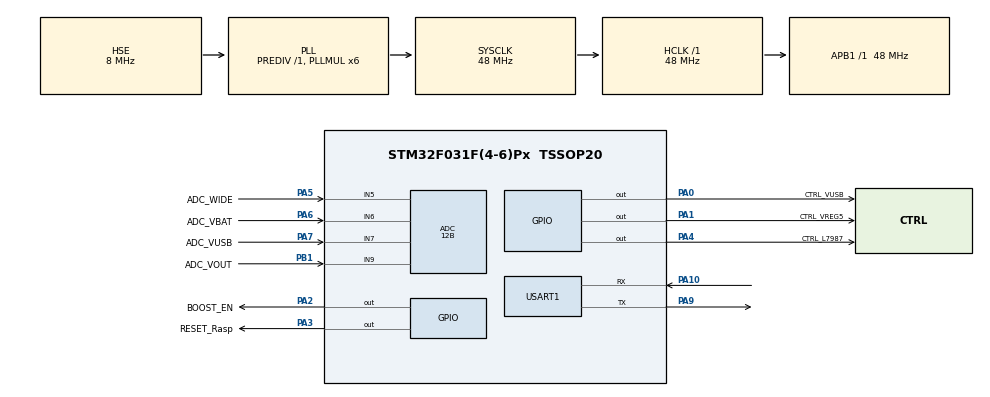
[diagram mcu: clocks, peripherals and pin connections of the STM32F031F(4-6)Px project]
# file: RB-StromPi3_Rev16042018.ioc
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ADC.ClockPrescaler=ADC_CLOCK_ASYNC_DIV1
ADC.ContinuousConvMode=ENABLE
ADC.DMAContinuousRequests=ENABLE
ADC.DataAlign=ADC_DATAALIGN_RIGHT
ADC.DiscontinuousConvMode=DISABLE
ADC.EOCSelection=ADC_EOC_SINGLE_CONV
ADC.EnableAnalogWatchDog=true
ADC.ExternalTrigConv=ADC_SOFTWARE_START
ADC.ExternalTrigConvEdge=ADC_EXTERNALTRIGCONVEDGE_NONE
ADC.HighThreshold=4095
ADC.ITMode=ENABLE
ADC.LowPowerAutoPowerOff=DISABLE
ADC.LowPowerAutoWait=DISABLE
ADC.LowThreshold=1850
ADC.Overrun=ADC_OVR_DATA_OVERWRITTEN
ADC.Resolution=ADC_RESOLUTION_12B
ADC.SamplingTime=ADC_SAMPLETIME_239CYCLES_5
ADC.ScanConvMode=ADC_SCAN_DIRECTION_FORWARD
ADC.WatchdogChannel=ADC_CHANNEL_7
ADC.WatchdogMode=ADC_ANALOGWATCHDOG_SINGLE_REG
Dma.ADC.0.Direction=DMA_PERIPH_TO_MEMORY
Dma.ADC.0.Instance=DMA1_Channel1
Dma.ADC.0.MemDataAlignment=DMA_MDATAALIGN_HALFWORD
Dma.ADC.0.MemInc=DMA_MINC_ENABLE
Dma.ADC.0.Mode=DMA_CIRCULAR
Dma.ADC.0.PeriphDataAlignment=DMA_PDATAALIGN_HALFWORD
Dma.ADC.0.PeriphInc=DMA_PINC_DISABLE
Dma.ADC.0.Priority=DMA_PRIORITY_LOW
Dma.Request0=ADC
FREERTOS.HEAP_NUMBER=3
FREERTOS.INCLUDE_uxTaskGetStackHighWaterMark=1
FREERTOS.INCLUDE_vTaskDelete=0
FREERTOS.Tasks01=defaultTask,0,64,StartDefaultTask,Default,NULL,Dynamic,NULL,NULL
FREERTOS.configCHECK_FOR_STACK_OVERFLOW=1
FREERTOS.configMAX_TASK_NAME_LEN=12
FREERTOS.configMINIMAL_STACK_SIZE=64
FREERTOS.configQUEUE_REGISTRY_SIZE=0
FREERTOS.configTOTAL_HEAP_SIZE=2048
FREERTOS.configUSE_MUTEXES=1
FREERTOS.configUSE_TASK_NOTIFICATIONS=0
Mcu.Family=STM32F0
Mcu.Name=STM32F031F(4-6)Px
Mcu.Package=TSSOP20
NVIC.ADC1_IRQn=true\:3\:0\:false\:true\:true\:1\:true\:true
NVIC.DMA1_Channel1_IRQn=true\:3\:0\:false\:true\:true\:3\:true\:false
NVIC.TIM14_IRQn=true\:0\:0\:false\:false\:true\:false\:false
NVIC.TimeBase=TIM14_IRQn
NVIC.TimeBaseIP=TIM14
NVIC.USART1_IRQn=true\:3\:0\:false\:true\:true\:2\:true\:true
PA0.GPIO_Label=CTRL_VUSB
PA0.GPIO_PuPd=GPIO_PULLDOWN
PA0.PinState=GPIO_PIN_RESET
PA0.Signal=GPIO_Output
PA1.GPIO_Label=CTRL_VREG5
PA1.GPIO_PuPd=GPIO_PULLUP
PA1.PinState=GPIO_PIN_SET
PA1.Signal=GPIO_Output
PA10.GPIO_PuPd=GPIO_PULLDOWN
PA10.Mode=Asynchronous
PA10.Signal=USART1_RX
PA13.Mode=Serial_Wire
PA13.Signal=SYS_SWDIO
PA14.Mode=Serial_Wire
PA14.Signal=SYS_SWCLK
PA2.GPIO_Label=BOOST_EN
PA2.GPIO_PuPd=GPIO_PULLUP
PA2.PinState=GPIO_PIN_SET
PA2.Signal=GPIO_Output
PA3.GPIO_Label=RESET_Rasp
PA3.Signal=GPIO_Output
PA4.GPIO_Label=CTRL_L7987
PA4.GPIO_PuPd=GPIO_PULLUP
PA4.PinState=GPIO_PIN_SET
PA4.Signal=GPIO_Output
PA5.GPIO_Label=ADC_WIDE
PA5.Mode=IN5
PA5.Signal=ADC_IN5
PA6.GPIO_Label=ADC_VBAT
PA6.Mode=IN6
PA6.Signal=ADC_IN6
PA7.GPIO_Label=ADC_VUSB
PA7.Mode=IN7
PA7.Signal=ADC_IN7
PA9.GPIO_PuPd=GPIO_PULLDOWN
PA9.Mode=Asynchronous
PA9.Signal=USART1_TX
PB1.GPIO_Label=ADC_VOUT
PB1.Mode=IN9
PB1.Signal=ADC_IN9
PF0-OSC_IN.Mode=HSE-External-Oscillator
PF0-OSC_IN.Signal=RCC_OSC_IN
PF1-OSC_OUT.Mode=HSE-External-Oscillator
PF1-OSC_OUT.Signal=RCC_OSC_OUT
ProjectManager.HeapSize=0x200
ProjectManager.StackSize=0x700
ProjectManager.TargetToolchain=TrueSTUDIO
RCC.AHBFreq_Value=48000000
RCC.APB1Freq_Value=48000000
RCC.APB1TimFreq_Value=48000000
RCC.HCLKFreq_Value=48000000
RCC.PLLMUL=RCC_PLL_MUL6
RCC.PLLSourceVirtual=RCC_PLLSOURCE_HSE
RCC.RTCClockSelection=RCC_RTCCLKSOURCE_HSE_DIV32
RCC.SYSCLKFreq_VALUE=48000000
RCC.SYSCLKSource=RCC_SYSCLKSOURCE_PLLCLK
RTC.AsynchPrediv=124
RTC.SynchPrediv=1999
USART1.VirtualMode-Asynchronous=VM_ASYNC
VP_ADC_Vref_Input.Mode=IN-Vrefint
VP_FREERTOS_VS_ENABLE.Mode=Enabled
VP_RTC_VS_RTC_Activate.Mode=RTC_Enabled
VP_SYS_VS_tim14.Mode=TIM14
board=RB-StromPi3_Rev16042018

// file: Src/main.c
/**
 ******************************************************************************
 * @file           : main.c
 * @brief          : Main program body
 ******************************************************************************
 * This notice applies to any and all portions of this file
 * that are not between comment pairs USER CODE BEGIN and
 * USER CODE END. Other portions of this file, whether
 * inserted by the user or by software development tools
 * are owned by their respective copyright owners.
 *
 * Copyright (c) 2018 STMicroelectronics International N.V.
 * All rights reserved.
 *
 * Redistribution and use in source and binary forms, with or without
 * modification, are permitted, provided that the following conditions are met:
 *
 * 1. Redistribution of source code must retain the above copyright notice,
 *    this list of conditions and the following disclaimer.
 * 2. Redistributions in binary form must reproduce the above copyright notice,
 *    this list of conditions and the following disclaimer in the documentation
 *    and/or other materials provided with the distribution.
 * 3. Neither the name of STMicroelectronics nor the names of other
 *    contributors to this software may be used to endorse or promote products
 *    derived from this software without specific written permission.
 * 4. This software, including modifications and/or derivative works of this
 *    software, must execute solely and exclusively on microcontroller or
 *    microprocessor devices manufactured by or for STMicroelectronics.
 * 5. Redistribution and use of this software other than as permitted under
 *    this license is void and will automatically terminate your rights under
 *    this license.
 *
 * THIS SOFTWARE IS PROVIDED BY STMICROELECTRONICS AND CONTRIBUTORS "AS IS"
 * AND ANY EXPRESS, IMPLIED OR STATUTORY WARRANTIES, INCLUDING, BUT NOT
 * LIMITED TO, THE IMPLIED WARRANTIES OF MERCHANTABILITY, FITNESS FOR A
 * PARTICULAR PURPOSE AND NON-INFRINGEMENT OF THIRD PARTY INTELLECTUAL PROPERTY
 * RIGHTS ARE DISCLAIMED TO THE FULLEST EXTENT PERMITTED BY LAW. IN NO EVENT
 * SHALL STMICROELECTRONICS OR CONTRIBUTORS BE LIABLE FOR ANY DIRECT, INDIRECT,
 * INCIDENTAL, SPECIAL, EXEMPLARY, OR CONSEQUENTIAL DAMAGES (INCLUDING, BUT NOT
 * LIMITED TO, PROCUREMENT OF SUBSTITUTE GOODS OR SERVICES; LOSS OF USE, DATA,
 * OR PROFITS; OR BUSINESS INTERRUPTION) HOWEVER CAUSED AND ON ANY THEORY OF
 * LIABILITY, WHETHER IN CONTRACT, STRICT LIABILITY, OR TORT (INCLUDING
 * NEGLIGENCE OR OTHERWISE) ARISING IN ANY WAY OUT OF THE USE OF THIS SOFTWARE,
 * EVEN IF ADVISED OF THE POSSIBILITY OF SUCH DAMAGE.
 *
 ******************************************************************************
 */

/************************************************************************************************************************************************************

 StromPi v3 - by Joy-IT
 OpenSource-Firmware published under MIT-License

 /************************************************************************************************************************************************************

 This following pieces of Code defines the Firmware of the StromPi3 Raspberry Pi expansion.
 Its main functions are included into the integrated OpenSource FreeRTOS
 The Basis I/O HAL Drivers of the STM32F031 are generated with STM32CubeMX and can be modified here in Source
 or with the "StromPi3.ioc" - File.

 The main functionality of the StromPi3 is realized with the STM32 ADC Watchdog - which is configured to monitor
 the voltage of the configured primary voltage source. If the voltage source fails and the measured voltage
 falls under the threshold, then the STM32 switch to the voltage/powerpath of the configured backup source.
 The STM32 switches the powerpath through Mosfets connected to its GPIO-Ports.
 The voltage-sources which can be configured are the following:

 - mUSB
 - Wide-Range (StepDown Regulator Output)
 - Battery

 If the Battery-PowerPath isn't selected as the voltage-source, the Battery-Hat Expansion would be configured
 into its charging mode.
 For further reference of the topology of the StromPi3, please refer to the schematic-files which are also
 included into the OpenSource-Files

 The FreeRTOS Operating System is generated with two Tasks:

 - Main Operating Task with the AlarmHandler (for Time based Operations like timed WakeUp or Shutdown),
 the function to repower the Raspberry Pi in case that the main voltage source comes back
 and the functions to read out the ADC-Values for Voltage Output.
 This Task is timed to operate in a period of 1 second

 The Sourcecode of this Task is defined in this "main.c" File

 - Serial Console Task which is processing the the in- and output of the serial interface.

 The Sourecode of this Task is defined in the "UART_CLI.c" File

 The ADC-Watchdog is processed in its own HAL-Based Interrupt-Routine through flags, which then are
 processed in the main Task.

 The Files are created in the Atollic TrueSTUDIO for STM32, which can be used for STM32 for free.
 You can include the .cproject file in the IDE and start to code your own modifications
 and debug them with a ST-Linkv2 connected to the StromPi3 or make your own binary which can be flashed
 with the stm32flasher in flashmode of the StromPi 3
 (Please refer to the manual provided in our firmware updates in the download section of strompi.joy-it.net)

 (connections have to be soldered for InCircuit debugging- please refer to the additional Files provided in the OpenSource Package for the right pinout)

 Please refer to the additional comments in the corresponding sections for further explanations.

 If there are questions or something is unclear, please feel free
 to contact us via E-Mail: service@joy-it.net
 */

/***********************************************************************************************************************************************************/

#include "main.h"
#include "stm32f0xx_hal.h"
#include "cmsis_os.h"

/* USER CODE BEGIN Includes */

/*** The following variables are needed for initialization of the STM32-HAL System ***/

/* USER CODE END Includes */

ADC_HandleTypeDef hadc;
DMA_HandleTypeDef hdma_adc;

RTC_HandleTypeDef hrtc;

UART_HandleTypeDef huart1;

osThreadId defaultTaskHandle;

/* USER CODE BEGIN PV */
/* Private variables ---------------------------------------------------------*/
PAGEError = 0;
uint8_t initstart = 0; /*** only needed in factory production  ***/

/* USER CODE END PV */

void SystemClock_Config(void);
static void MX_GPIO_Init(void);
static void MX_DMA_Init(void);
static void MX_ADC_Init(void);
static void MX_RTC_Init(void);
static void MX_USART1_UART_Init(void);
void StartDefaultTask(void const *argument);
static void MX_NVIC_Init(void);

/* USER CODE BEGIN PFP */
/* Private function prototypes -----------------------------------------------*/

extern void vUARTCommandConsoleStart(void);

/* USER CODE END PFP */

/* USER CODE BEGIN 0 */

/*** Initialization of the STM32-HAL RTC Driver ***/

RTC_DateTypeDef sdatestructure;
RTC_TimeTypeDef stimestructure;

/*** Here are defined the warning messages which are sent through the serial interface ***/

uint8_t shutdownMessage[] = "xxxShutdownRaspberryPixxx\n\r";

uint8_t powerfailMessage[] = "xxx--StromPiPowerfail--xxx\n\r";

uint8_t powerBackMessage[] = "xxx--StromPiPowerBack--xxx\n\r";

/*** FreeRTOS Hook for Debug-Purposes ***/

void vApplicationStackOverflowHook(xTaskHandle *pxTask, signed char *pcTaskName) {
	for (;;)
		;
}

/* USER CODE END 0 */

int main(void) {
	/* USER CODE BEGIN 1 */

	/*** The configuration, which is made in the serial console,
	 * are stored into the flash of the STM32F031 MCU with the flashconfig() function.
	 * In the following section, the configuration is read out from the designated flash
	 * and stored into variables in the memory ***/

	modus = *(uint8_t*) modus_FlashAdress;
	alarmDate = *(uint8_t*) alarmDate_FlashAdress;
	alarmWeekDay = *(uint8_t*) alarmWeekDay_FlashAdress;
	alarmTime = *(uint8_t*) alarmTime_FlashAdress;
	alarmPoweroff = *(uint8_t*) alarmPoweroff_FlashAdress;
	alarm_min = *(uint8_t*) alarm_min_FlashAdress;
	alarm_hour = *(uint8_t*) alarm_hour_FlashAdress;
	alarm_min_off = *(uint8_t*) alarm_min_off_FlashAdress;
	alarm_hour_off = *(uint8_t*) alarm_hour_off_FlashAdress;
	alarm_day = *(uint8_t*) alarm_day_FlashAdress;
	alarm_month = *(uint8_t*) alarm_month_FlashAdress;
	alarm_weekday = *(uint8_t*) alarm_weekday_FlashAdress;
	alarm_enable = *(uint8_t*) alarm_enable_FlashAdress;
	shutdown_enable = *(uint8_t*) shutdown_enable_FlashAdress;
	shutdown_time = *(uint16_t*) shutdown_time_FlashAdress;
	warning_enable = *(uint8_t*) warning_enable_FlashAdress;
	serialLessMode = *(uint8_t*) serialLessMode_FlashAdress;
	batLevel_shutdown = *(uint8_t*) batLevel_shutdown_FlashAdress;
	alarmInterval = *(uint8_t*) alarmInterval_FlashAdress;
	alarmIntervalMinOn = *(uint16_t*) alarmIntervalMinOn_FlashAdress;
	alarmIntervalMinOff = *(uint16_t*) alarmIntervalMinOff_FlashAdress;
	powerOnButton_enable = *(uint16_t*) powerOnButton_enable_FlashAdress;
	powerOnButton_time = *(uint16_t*) powerOnButton_time_FlashAdress;
	powersave_enable = *(uint16_t*) powersave_enable_FlashAdress;
	poweroff_enable = *(uint16_t*) poweroff_enable_FlashAdress;
	wakeup_time_enable = *(uint8_t*) wakeup_time_enable_FlashAdress;
	wakeup_time = *(uint16_t*) wakeup_time_FlashAdress;
	wakeupweekend_enable = *(uint8_t*) wakeupweekend_enable_FlashAdress;

	/*** Only for manufacturing | Checks if the Flash Area of the STM32F031 is blank - in this case it preprogramm it with a default configuration ***/
	initialCheck();

	configParamters[1] = modus;
	configParamters[2] = alarmDate;
	configParamters[3] = alarmWeekDay;
	configParamters[4] = alarmTime;
	configParamters[5] = alarmPoweroff;
	configParamters[6] = alarm_min;
	configParamters[7] = alarm_hour;
	configParamters[8] = alarm_min_off;
	configParamters[9] = alarm_hour_off;
	configParamters[10] = alarm_day;
	configParamters[11] = alarm_month;
	configParamters[12] = alarm_weekday;
	configParamters[13] = alarm_enable;
	configParamters[14] = shutdown_enable;
	configParamters[15] = shutdown_time;
	configParamters[16] = warning_enable;
	configParamters[17] = serialLessMode;
	configParamters[18] = batLevel_shutdown;
	configParamters[19] = alarmInterval;
	configParamters[20] = alarmIntervalMinOn;
	configParamters[21] = alarmIntervalMinOff;
	configParamters[22] = powerOnButton_enable;
	configParamters[23] = powerOnButton_time;
	configParamters[24] = powersave_enable;
	configParamters[25] = poweroff_enable;
	configParamters[26] = wakeup_time_enable;
	configParamters[27] = wakeup_time;
	configParamters[28] = wakeupweekend_enable;

	wakeup_time_counter = wakeup_time;
	alarmIntervalMinOn_Counter = alarmIntervalMinOn;
	alarmIntervalMinOff_Counter = alarmIntervalMinOff;

	poweroff_flag = 0;

	if (powersave_enable == 1) {
		HAL_GPIO_WritePin(CTRL_L7987_GPIO_Port, CTRL_L7987_Pin, GPIO_PIN_RESET);
	}

	/* USER CODE END 1 */

	/* MCU Configuration----------------------------------------------------------*/

	/* Reset of all peripherals, Initializes the Flash interface and the Systick. */
	HAL_Init();

	/* Configure the system clock */
	SystemClock_Config();

	/* Initialize all configured peripherals */
	MX_GPIO_Init();
	MX_DMA_Init();
	MX_RTC_Init();

	/* Initialize interrupts */
	MX_NVIC_Init();
	/* USER CODE BEGIN 2 */

	/*********************************************************************************/

	/*** STM32HAL RTC-Driver Initialization ***/
	sdatestructure.Year = 0x18;
	sdatestructure.Month = RTC_MONTH_MAY;
	sdatestructure.Date = 0x01;
	sdatestructure.WeekDay = RTC_WEEKDAY_TUESDAY;

	if (HAL_RTC_SetDate(&hrtc, &sdatestructure, RTC_FORMAT_BCD) != HAL_OK) {
		/* Initialization Error */
		Error_Handler();
	}

	stimestructure.Hours = 0x00;
	stimestructure.Minutes = 0x00;
	stimestructure.Seconds = 0x00;
	stimestructure.TimeFormat = RTC_HOURFORMAT12_AM;
	stimestructure.DayLightSaving = RTC_DAYLIGHTSAVING_NONE;
	stimestructure.StoreOperation = RTC_STOREOPERATION_RESET;

	if (HAL_RTC_SetTime(&hrtc, &stimestructure, RTC_FORMAT_BCD) != HAL_OK) {
		/* Initialization Error */
		Error_Handler();
	}

	/*********************************************************************************/

	/*** Activates Powerpath of the configured primary source ***/
	/*
	 * The Mode number represents the following configurations
	 *
	 *  1: mUSB (primary) -> Wide (secondary)
	 *  2: Wide (primary) -> mUSB (secondary)
	 *  3: mUSB (primary) -> Battery (secondary)
	 *  4: Wide (primary) -> Battery (secondary)
	 *
	 *  5: Three-Stage-Mode: mUSB -> Wide -> Battery
	 *  6: Three-Stage-Mode: Wide -> mUSB -> Battery
	 *
	 *  So for the initial boot process the primary source is selected
	 */

	if (modus == 1 || modus == 3) {
		Power_USB();
	} else if (modus == 2 || modus == 4) {
		Power_Wide();
	} else if (modus == 5) {
		threeStageMode = 1;
		modus = 1;
		Power_USB();
	} else if (modus == 6) {
		threeStageMode = 2;
		modus = 2;
		Power_Wide();
	}

	/*********************************************************************************/
	/*
	 * In the next lines the FreeRTOS Main Task is created and the Scheduler starts
	 */
	/*********************************************************************************/

	/* USER CODE END 2 */

	/* Create the thread(s) */
	/* definition and creation of defaultTask */
	osThreadDef(defaultTask, StartDefaultTask, osPriorityNormal, 0, 64);
	defaultTaskHandle = osThreadCreate(osThread(defaultTask), NULL);

	/* Start scheduler */
	osKernelStart();

	/* We should never get here as control is now taken by the scheduler */

	/* Infinite loop */
	while (1) {

	}

}

void SystemClock_Config(void) {

	RCC_OscInitTypeDef RCC_OscInitStruct;
	RCC_ClkInitTypeDef RCC_ClkInitStruct;
	RCC_PeriphCLKInitTypeDef PeriphClkInit;

	/**Initializes the CPU, AHB and APB busses clocks
	 */
	RCC_OscInitStruct.OscillatorType = RCC_OSCILLATORTYPE_HSI14
			| RCC_OSCILLATORTYPE_HSE;
	RCC_OscInitStruct.HSEState = RCC_HSE_ON;
	RCC_OscInitStruct.HSI14State = RCC_HSI14_ON;
	RCC_OscInitStruct.HSI14CalibrationValue = 16;
	RCC_OscInitStruct.PLL.PLLState = RCC_PLL_ON;
	RCC_OscInitStruct.PLL.PLLSource = RCC_PLLSOURCE_HSE;
	RCC_OscInitStruct.PLL.PLLMUL = RCC_PLL_MUL6;
	RCC_OscInitStruct.PLL.PREDIV = RCC_PREDIV_DIV1;
	if (HAL_RCC_OscConfig(&RCC_OscInitStruct) != HAL_OK) {
		_Error_Handler(__FILE__, __LINE__);
	}

	/**Initializes the CPU, AHB and APB busses clocks
	 */
	RCC_ClkInitStruct.ClockType = RCC_CLOCKTYPE_HCLK | RCC_CLOCKTYPE_SYSCLK
			| RCC_CLOCKTYPE_PCLK1;
	RCC_ClkInitStruct.SYSCLKSource = RCC_SYSCLKSOURCE_PLLCLK;
	RCC_ClkInitStruct.AHBCLKDivider = RCC_SYSCLK_DIV1;
	RCC_ClkInitStruct.APB1CLKDivider = RCC_HCLK_DIV1;

	if (HAL_RCC_ClockConfig(&RCC_ClkInitStruct, FLASH_LATENCY_1) != HAL_OK) {
		_Error_Handler(__FILE__, __LINE__);
	}

	PeriphClkInit.PeriphClockSelection = RCC_PERIPHCLK_USART1
			| RCC_PERIPHCLK_RTC;
	PeriphClkInit.Usart1ClockSelection = RCC_USART1CLKSOURCE_PCLK1;
	PeriphClkInit.RTCClockSelection = RCC_RTCCLKSOURCE_HSE_DIV32;
	if (HAL_RCCEx_PeriphCLKConfig(&PeriphClkInit) != HAL_OK) {
		_Error_Handler(__FILE__, __LINE__);
	}

	/**Configure the Systick interrupt time
	 */
	HAL_SYSTICK_Config(HAL_RCC_GetHCLKFreq() / 1000);

	/**Configure the Systick
	 */
	HAL_SYSTICK_CLKSourceConfig(SYSTICK_CLKSOURCE_HCLK);

	/* SysTick_IRQn interrupt configuration */
	HAL_NVIC_SetPriority(SysTick_IRQn, 3, 0);
}

/**
 * @brief NVIC Configuration.
 * @retval None
 */
static void MX_NVIC_Init(void) {
	/* ADC1_IRQn interrupt configuration */
	HAL_NVIC_SetPriority(ADC1_IRQn, 3, 0);
	HAL_NVIC_EnableIRQ(ADC1_IRQn);
	/* USART1_IRQn interrupt configuration */
	HAL_NVIC_SetPriority(USART1_IRQn, 3, 0);
	HAL_NVIC_EnableIRQ(USART1_IRQn);
	/* DMA1_Channel1_IRQn interrupt configuration */
	HAL_NVIC_SetPriority(DMA1_Channel1_IRQn, 3, 0);
	HAL_NVIC_EnableIRQ(DMA1_Channel1_IRQn);
}

/* ADC init function */
static void MX_ADC_Init(void) {

	ADC_ChannelConfTypeDef sConfig;
	ADC_AnalogWDGConfTypeDef AnalogWDGConfig;

	/**Configure the global features of the ADC (Clock, Resolution, Data Alignment and number of conversion)
	 */
	hadc.Instance = ADC1;
	hadc.Init.ClockPrescaler = ADC_CLOCK_ASYNC_DIV1;
	hadc.Init.Resolution = ADC_RESOLUTION_12B;
	hadc.Init.DataAlign = ADC_DATAALIGN_RIGHT;
	hadc.Init.ScanConvMode = ADC_SCAN_DIRECTION_FORWARD;
	hadc.Init.EOCSelection = ADC_EOC_SINGLE_CONV;
	hadc.Init.LowPowerAutoWait = DISABLE;
	hadc.Init.LowPowerAutoPowerOff = DISABLE;
	hadc.Init.ContinuousConvMode = ENABLE;
	hadc.Init.DiscontinuousConvMode = DISABLE;
	hadc.Init.ExternalTrigConv = ADC_SOFTWARE_START;
	hadc.Init.ExternalTrigConvEdge = ADC_EXTERNALTRIGCONVEDGE_NONE;
	hadc.Init.DMAContinuousRequests = ENABLE;
	hadc.Init.Overrun = ADC_OVR_DATA_OVERWRITTEN;
	if (HAL_ADC_Init(&hadc) != HAL_OK) {
		_Error_Handler(__FILE__, __LINE__);
	}

	/**Configure for the selected ADC regular channel to be converted.
	 */
	sConfig.Channel = ADC_CHANNEL_5;
	sConfig.Rank = ADC_RANK_CHANNEL_NUMBER;
	sConfig.SamplingTime = ADC_SAMPLETIME_239CYCLES_5;
	if (HAL_ADC_ConfigChannel(&hadc, &sConfig) != HAL_OK) {
		_Error_Handler(__FILE__, __LINE__);
	}

	/**Configure for the selected ADC regular channel to be converted.
	 */
	sConfig.Channel = ADC_CHANNEL_6;
	if (HAL_ADC_ConfigChannel(&hadc, &sConfig) != HAL_OK) {
		_Error_Handler(__FILE__, __LINE__);
	}

	/**Configure for the selected ADC regular channel to be converted.
	 */
	sConfig.Channel = ADC_CHANNEL_7;
	if (HAL_ADC_ConfigChannel(&hadc, &sConfig) != HAL_OK) {
		_Error_Handler(__FILE__, __LINE__);
	}

	/**Configure for the selected ADC regular channel to be converted.
	 */
	sConfig.Channel = ADC_CHANNEL_9;
	if (HAL_ADC_ConfigChannel(&hadc, &sConfig) != HAL_OK) {
		_Error_Handler(__FILE__, __LINE__);
	}

	/**Configure for the selected ADC regular channel to be converted.
	 */
	sConfig.Channel = ADC_CHANNEL_VREFINT;
	if (HAL_ADC_ConfigChannel(&hadc, &sConfig) != HAL_OK) {
		_Error_Handler(__FILE__, __LINE__);
	}

	/**Configure the analog watchdog
	 */
	AnalogWDGConfig.WatchdogMode = ADC_ANALOGWATCHDOG_SINGLE_REG;
	AnalogWDGConfig.Channel = ADC_CHANNEL_7;
	AnalogWDGConfig.ITMode = ENABLE;
	AnalogWDGConfig.HighThreshold = 4095;
	AnalogWDGConfig.LowThreshold = 1850;
	if (HAL_ADC_AnalogWDGConfig(&hadc, &AnalogWDGConfig) != HAL_OK) {
		_Error_Handler(__FILE__, __LINE__);
	}

}

/* RTC init function */
static void MX_RTC_Init(void) {

	/**Initialize RTC Only
	 */
	hrtc.Instance = RTC;
	hrtc.Init.HourFormat = RTC_HOURFORMAT_24;
	hrtc.Init.AsynchPrediv = 124;
	hrtc.Init.SynchPrediv = 1999;
	hrtc.Init.OutPut = RTC_OUTPUT_DISABLE;
	hrtc.Init.OutPutPolarity = RTC_OUTPUT_POLARITY_HIGH;
	hrtc.Init.OutPutType = RTC_OUTPUT_TYPE_OPENDRAIN;
	if (HAL_RTC_Init(&hrtc) != HAL_OK) {
		_Error_Handler(__FILE__, __LINE__);
	}

}

/* USART1 init function */
static void MX_USART1_UART_Init(void) {

	huart1.Instance = USART1;
	huart1.Init.BaudRate = 38400;
	huart1.Init.WordLength = UART_WORDLENGTH_8B;
	huart1.Init.StopBits = UART_STOPBITS_1;
	huart1.Init.Parity = UART_PARITY_NONE;
	huart1.Init.Mode = UART_MODE_TX_RX;
	huart1.Init.HwFlowCtl = UART_HWCONTROL_NONE;
	huart1.Init.OverSampling = UART_OVERSAMPLING_16;
	huart1.Init.OneBitSampling = UART_ONE_BIT_SAMPLE_DISABLE;
	huart1.AdvancedInit.AdvFeatureInit = UART_ADVFEATURE_NO_INIT;
	if (HAL_UART_Init(&huart1) != HAL_OK) {
		_Error_Handler(__FILE__, __LINE__);
	}

}

static void MX_DMA_Init(void) {
	/* DMA controller clock enable */
	__HAL_RCC_DMA1_CLK_ENABLE()
	;

}

/** Configure pins as
 * Analog
 * Input
 * Output
 * EVENT_OUT
 * EXTI
 */
static void MX_GPIO_Init(void) {

	GPIO_InitTypeDef GPIO_InitStruct;

	/* GPIO Ports Clock Enable */
	__HAL_RCC_GPIOF_CLK_ENABLE()
	;
	__HAL_RCC_GPIOA_CLK_ENABLE()
	;
	__HAL_RCC_GPIOB_CLK_ENABLE()
	;

	/*Configure GPIO pin Output Level */
	HAL_GPIO_WritePin(GPIOA, CTRL_VUSB_Pin | RESET_Rasp_Pin, GPIO_PIN_SET);

	/*Configure GPIO pin Output Level */
	HAL_GPIO_WritePin(GPIOA, CTRL_VREG5_Pin | BOOST_EN_Pin | CTRL_L7987_Pin,
			GPIO_PIN_SET);

	/*Configure GPIO pin : CTRL_VUSB_Pin */
	GPIO_InitStruct.Pin = CTRL_VUSB_Pin;
	GPIO_InitStruct.Mode = GPIO_MODE_OUTPUT_PP;
	GPIO_InitStruct.Pull = GPIO_PULLDOWN;
	GPIO_InitStruct.Speed = GPIO_SPEED_FREQ_LOW;
	HAL_GPIO_Init(CTRL_VUSB_GPIO_Port, &GPIO_InitStruct);

	/*Configure GPIO pins : CTRL_VREG5_Pin BOOST_EN_Pin CTRL_L7987_Pin */
	GPIO_InitStruct.Pin = CTRL_VREG5_Pin | BOOST_EN_Pin | CTRL_L7987_Pin;
	GPIO_InitStruct.Mode = GPIO_MODE_OUTPUT_PP;
	GPIO_InitStruct.Pull = GPIO_PULLUP;
	GPIO_InitStruct.Speed = GPIO_SPEED_FREQ_LOW;
	HAL_GPIO_Init(GPIOA, &GPIO_InitStruct);

	/*Configure GPIO pin : RESET_Rasp_Pin */
	GPIO_InitStruct.Pin = RESET_Rasp_Pin;
	GPIO_InitStruct.Mode = GPIO_MODE_OUTPUT_PP;
	GPIO_InitStruct.Pull = GPIO_NOPULL;
	GPIO_InitStruct.Speed = GPIO_SPEED_FREQ_LOW;
	HAL_GPIO_Init(RESET_Rasp_GPIO_Port, &GPIO_InitStruct);

}

/* USER CODE BEGIN 4 */

/*********************************************************************************/
/*
 * Functions to change the Reset Pin Function for the Serial-Less Mode and the PowerON Button
 */

void Config_Reset_Pin_Input_PullUP(void) {
	GPIO_InitTypeDef GPIO_InitStruct;

	GPIO_InitStruct.Pin = RESET_Rasp_Pin;
	GPIO_InitStruct.Mode = GPIO_MODE_INPUT;
	GPIO_InitStruct.Pull = GPIO_PULLUP;
	GPIO_InitStruct.Speed = GPIO_SPEED_FREQ_LOW;
	HAL_GPIO_Init(RESET_Rasp_GPIO_Port, &GPIO_InitStruct);
}

void Config_Reset_Pin_Input_PullDOWN(void) {
	GPIO_InitTypeDef GPIO_InitStruct;

	GPIO_InitStruct.Pin = RESET_Rasp_Pin;
	GPIO_InitStruct.Mode = GPIO_MODE_INPUT;
	GPIO_InitStruct.Pull = GPIO_PULLDOWN;
	GPIO_InitStruct.Speed = GPIO_SPEED_FREQ_LOW;
	HAL_GPIO_Init(RESET_Rasp_GPIO_Port, &GPIO_InitStruct);
}

void Config_Reset_Pin_Output(void) {
	GPIO_InitTypeDef GPIO_InitStruct;

	GPIO_InitStruct.Pin = RESET_Rasp_Pin;
	GPIO_InitStruct.Mode = GPIO_MODE_OUTPUT_PP;
	GPIO_InitStruct.Pull = GPIO_NOPULL;
	GPIO_InitStruct.Speed = GPIO_SPEED_FREQ_LOW;
	HAL_GPIO_Init(RESET_Rasp_GPIO_Port, &GPIO_InitStruct);
}

/*********************************************************************************/
/*
 * Functions to change the PowerPath
 *
 *		- Power_USB() activates the PowerPath of the mUSB Input
 * 		- Power_Wide() activates the PowerPath of the WideRange StepDownConverter
 * 		- Power_Bat() deactivates the charging circuit and activates the PowerPath of the Battery
 * 		- Power_Off() deactivates all Powerpathes so the Raspberry Pi turns off completely
 */

void Power_USB(void) {
	output_status = 1;
	charging = 1;

	if (powersave_enable == 1) {
		HAL_GPIO_WritePin(CTRL_L7987_GPIO_Port, CTRL_L7987_Pin, GPIO_PIN_RESET);
	}

	HAL_GPIO_WritePin(CTRL_VUSB_GPIO_Port, CTRL_VUSB_Pin, GPIO_PIN_SET);
	HAL_GPIO_WritePin(CTRL_VREG5_GPIO_Port, CTRL_VREG5_Pin, GPIO_PIN_RESET);
	HAL_GPIO_WritePin(BOOST_EN_GPIO_Port, BOOST_EN_Pin, GPIO_PIN_SET);
}

void Power_Wide(void) {
	output_status = 2;
	charging = 1;

	if (powersave_enable == 1) {
		HAL_GPIO_WritePin(CTRL_L7987_GPIO_Port, CTRL_L7987_Pin, GPIO_PIN_SET);
	}

	HAL_GPIO_WritePin(CTRL_VREG5_GPIO_Port, CTRL_VREG5_Pin, GPIO_PIN_SET);
	HAL_GPIO_WritePin(BOOST_EN_GPIO_Port, BOOST_EN_Pin, GPIO_PIN_SET);
	HAL_GPIO_WritePin(CTRL_VUSB_GPIO_Port, CTRL_VUSB_Pin, GPIO_PIN_RESET);
}

void Power_Bat(void) {
	output_status = 3;
	charging = 0;

	if (powersave_enable == 1) {
		HAL_GPIO_WritePin(CTRL_L7987_GPIO_Port, CTRL_L7987_Pin, GPIO_PIN_RESET);
	}

	HAL_GPIO_WritePin(BOOST_EN_GPIO_Port, BOOST_EN_Pin, GPIO_PIN_RESET);
	HAL_GPIO_WritePin(CTRL_VREG5_GPIO_Port, CTRL_VREG5_Pin, GPIO_PIN_RESET);
	HAL_GPIO_WritePin(CTRL_VUSB_GPIO_Port, CTRL_VUSB_Pin, GPIO_PIN_RESET);
}

void Power_Off(void) {
	poweroff_flag = 1;
	output_status = 0;
	charging = 0;

	if (powersave_enable == 1) {
		HAL_GPIO_WritePin(CTRL_L7987_GPIO_Port, CTRL_L7987_Pin, GPIO_PIN_RESET);
	}

	HAL_GPIO_WritePin(CTRL_VREG5_GPIO_Port, CTRL_VREG5_Pin, GPIO_PIN_RESET);
	HAL_GPIO_WritePin(BOOST_EN_GPIO_Port, BOOST_EN_Pin, GPIO_PIN_SET);
	HAL_GPIO_WritePin(CTRL_VUSB_GPIO_Port, CTRL_VUSB_Pin, GPIO_PIN_RESET);
}
/*********************************************************************************/

/*** Functions to output the warning message, when the state of the StromPi3 have changes
 *
 * 		- ShutdownRPi() sends the warning to shutdown the Raspberry Pi when the primary voltage source fails
 * 			- If the Serial-Less Mode is acticvated, the warning is not sent through the serial interface,
 * 			  but is processed through the connected GPIO-Line in the Raspberry Pi
 * 		- PowerBack() sends a message when the primary voltage source comes back
 * 		- PowerfailWarning() sends the warning when the primary voltage source fails but its message doesn't shutdown the RPi
 *
 * 																							  ***/
void ShutdownRPi(void) {
	if (serialLessMode) {
		Config_Reset_Pin_Output();
		HAL_GPIO_WritePin(RESET_Rasp_GPIO_Port, RESET_Rasp_Pin, GPIO_PIN_RESET);
		serialLess_communication_on_flag = 1;
	} else {
		HAL_UART_Transmit(&huart1, (uint8_t*) shutdownMessage,
				sizeof(shutdownMessage), sizeof(shutdownMessage));
	}
}

void PowerBack(void) {
	HAL_UART_Transmit(&huart1, (uint8_t*) powerBackMessage,
			sizeof(powerBackMessage), sizeof(powerBackMessage));
}

void PowerfailWarning(void) {
	HAL_UART_Transmit(&huart1, (uint8_t*) powerfailMessage,
			sizeof(powerfailMessage), sizeof(powerfailMessage));
	vTaskDelay(1 * 1000);
}

/*********************************************************************************/

/*** Functions to configure the ADC-Watchdog.
 * The STM32 can monitor the configured ADC-Voltageinput and switches to the HAL_ADC_LevelOutOfWindowCallback
 * when the voltage drops under the configured "AnalogWDGConfig.LowThreshold"
 *
 * 		- configureAWD_USB() is used when mUSB (mode 1 or 3) is configured as the primary input
 * 		- configureAWD_Wide() is used when Wide (mode 2 or 4) is configured as the primary input
 *
 *
 * 																							  ***/

void reconfigureWatchdog() {

	if (HAL_ADC_Stop_DMA(&hadc) != HAL_OK) {
		return 0;
	}

	if (modus == 1 || modus == 3) {
		configureAWD_USB();
	} else if (modus == 2 || modus == 4) {
		configureAWD_Wide();
	}

	HAL_ADCEx_Calibration_Start(&hadc);

	if (HAL_ADC_Start_DMA(&hadc, (uint32_t*) rawValue, 5) != HAL_OK) {
		return 0;
	}
}

void configureAWD_USB(void) {
	ADC_AnalogWDGConfTypeDef AnalogWDGConfig;

	/**Configure the analog watchdog
	 */
	AnalogWDGConfig.WatchdogMode = ADC_ANALOGWATCHDOG_SINGLE_REG;
	AnalogWDGConfig.Channel = ADC_CHANNEL_7;
	AnalogWDGConfig.ITMode = ENABLE;
	AnalogWDGConfig.HighThreshold = 4095;
	AnalogWDGConfig.LowThreshold = minUSB;
	if (HAL_ADC_AnalogWDGConfig(&hadc, &AnalogWDGConfig) != HAL_OK) {
		_Error_Handler(__FILE__, __LINE__);
	}

}

void configureAWD_Wide(void) {
	ADC_AnalogWDGConfTypeDef AnalogWDGConfig;

	/**Configure the analog watchdog
	 */
	AnalogWDGConfig.WatchdogMode = ADC_ANALOGWATCHDOG_SINGLE_REG;
	AnalogWDGConfig.Channel = ADC_CHANNEL_5;
	AnalogWDGConfig.ITMode = ENABLE;
	AnalogWDGConfig.HighThreshold = 4095;
	AnalogWDGConfig.LowThreshold = minWide;
	if (HAL_ADC_AnalogWDGConfig(&hadc, &AnalogWDGConfig) != HAL_OK) {
		_Error_Handler(__FILE__, __LINE__);
	}

}

/*********************************************************************************/

/*********************************************************************************/

/*** ADC Watchdog Interrupt
 *
 * When the Voltage drops under the configured Low Threshold, then the STM32 start the following
 * Callback function. The main Purpose is to switch as fast as possible to the backup voltage source
 * and then turn on the adequate flags for warning message processing or for starting the shutdown timer.
 *
 * 																							  ***/

void HAL_ADC_LevelOutOfWindowCallback(ADC_HandleTypeDef *hadc) {
	__disable_irq();

	/*** Here the StromPi3 switches the PowerPath depended which mode is configured
	 *
	 *  1: mUSB (primary) -> Wide (secondary)
	 *  2: Wide (primary) -> mUSB (secondary)
	 *  3: mUSB (primary) -> Battery (secondary)
	 *  4: Wide (primary) -> Battery (secondary)
	 *
	 *  The "warning_enable" flag is for the feature to make a powerfail warning without turning on the shutdowntimer
	 *  and without shuting down the Raspberry Pi with the warning message through the serial interface.
	 *
	 *   ***/
	if (!poweroff_flag) {

		if ((modus == 1 && poweroff_enable != 1)
				|| (modus == 1 && poweroff_flag != 1)) {
			poweroff_flag = 0;
			Power_Wide();
			if (warning_enable == 1) {
				warning_flag = 1;
			}
		} else if ((modus == 2 && poweroff_enable != 1)
				|| (modus == 2 && poweroff_flag != 1)) {
			poweroff_flag = 0;
			Power_USB();
			if (warning_enable == 1) {
				warning_flag = 1;
			}
		} else if ((modus == 3 && poweroff_flag != 1)
				|| (modus == 4 && poweroff_flag != 1)) {
			poweroff_flag = 0;
			Power_Bat();
			powerBat_flag = 1;
			if (warning_enable == 1) {
				warning_flag = 1;
			}
		}

		if (manual_poweroff_flag == 1 && poweroff_enable != 1) {
			poweroff_flag = 0;
			manual_poweroff_flag = 0;
		}

	}
	/*** If the Shutdown-Timer is configured, then the shutdown_flag is activated here
	 * so the shutdown-timer can be started and the shutdown message for the raspberry pi can be sent through the serial interface ***/
	if ((shutdown_enable == 1) && !(threeStageMode > 0 && output_status < 3)) {
		shutdown_flag = 1;

		/*if (poweroff_enable == 1)
		 {
		 poweroff_flag = 1;
		 }*/

	}

	/***  When a power failure of the primary source occurs, this counter is increased, so it can be tracked through the show-status command
	 *
	 ***/

	if (powerfailure_counter_block != 1) {
		powerfailure_counter++;
		powerfailure_counter_block = 1;
	}

	/*** This line deactivates the ADC Watchdog
	 * Its main purpose is to make sure to register a powerfailure probably once
	 * and that the ADC Watchdog Callback wouldn't be retriggered before the powerfailure
	 * processing in the main task have finished ***/
	__HAL_ADC_DISABLE_IT(hadc, ADC_IT_AWD);
	__enable_irq();
}

/*********************************************************************************/

/*** ADC Watchdog Interrupt
 *
 * flashConfig() is used for storing all of the configuration values to the flash
 * of the STM32F031 MCU, so it can be retrieved after a shutdown.
 *
 * flashValue() is a help function which is using the STM32-HAL for this matter.
 *
 * 																			  ***/

void flashConfig(void) {
	FLASH_EraseInitTypeDef EraseInitStruct;

	HAL_FLASH_Unlock();
	EraseInitStruct.TypeErase = FLASH_TYPEERASE_PAGES;
	EraseInitStruct.PageAddress = 0x8007C00;
	EraseInitStruct.NbPages = 1;

	if (HAL_FLASHEx_Erase(&EraseInitStruct, &PAGEError) != HAL_OK) {
		/*
		 Error occurred while page erase.
		 User can add here some code to deal with this error.
		 PAGEError will contain the faulty page and then to know the code error on this page,
		 user can call function 'HAL_FLASH_GetError()'
		 */
		/* Infinite loop */
		while (1) {
			_Error_Handler(__FILE__, __LINE__);
		}
	}

	flashValue(modus_FlashAdress, modus);
	flashValue(alarmDate_FlashAdress, alarmDate);
	flashValue(alarmWeekDay_FlashAdress, alarmWeekDay);
	flashValue(alarmTime_FlashAdress, alarmTime);
	flashValue(alarmPoweroff_FlashAdress, alarmPoweroff);
	flashValue(alarm_min_FlashAdress, alarm_min);
	flashValue(alarm_hour_FlashAdress, alarm_hour);
	flashValue(alarm_min_off_FlashAdress, alarm_min_off);
	flashValue(alarm_hour_off_FlashAdress, alarm_hour_off);
	flashValue(alarm_day_FlashAdress, alarm_day);
	flashValue(alarm_month_FlashAdress, alarm_month);
	flashValue(alarm_weekday_FlashAdress, alarm_weekday);
	flashValue(alarm_enable_FlashAdress, alarm_enable);
	flashValue(shutdown_enable_FlashAdress, shutdown_enable);
	flashValue(shutdown_time_FlashAdress, shutdown_time);
	flashValue(warning_enable_FlashAdress, warning_enable);
	flashValue(serialLessMode_FlashAdress, serialLessMode);
	flashValue(batLevel_shutdown_FlashAdress, batLevel_shutdown);
	flashValue(alarmInterval_FlashAdress, alarmInterval);
	flashValue(alarmIntervalMinOn_FlashAdress, alarmIntervalMinOn);
	flashValue(alarmIntervalMinOff_FlashAdress, alarmIntervalMinOff);
	flashValue(powerOnButton_enable_FlashAdress, powerOnButton_enable);
	flashValue(powerOnButton_time_FlashAdress, powerOnButton_time);
	flashValue(powersave_enable_FlashAdress, powersave_enable);
	flashValue(poweroff_enable_FlashAdress, poweroff_enable);
	flashValue(wakeup_time_enable_FlashAdress, wakeup_time_enable);
	flashValue(wakeup_time_FlashAdress, wakeup_time);
	flashValue(wakeupweekend_enable_FlashAdress, wakeupweekend_enable);

	HAL_FLASH_Lock();

}

void updateConfig(void) {
	modus = configParamters[1];
	alarmDate = configParamters[2];
	alarmWeekDay = configParamters[3];
	alarmTime = configParamters[4];
	alarmPoweroff = configParamters[5];
	alarm_min = configParamters[6];
	alarm_hour = configParamters[7];
	alarm_min_off = configParamters[8];
	alarm_hour_off = configParamters[9];
	alarm_day = configParamters[10];
	alarm_month = configParamters[11];
	alarm_weekday = configParamters[12];
	alarm_enable = configParamters[13];
	shutdown_enable = configParamters[14];
	shutdown_time = configParamters[15];
	warning_enable = configParamters[16];
	serialLessMode = configParamters[17];
	batLevel_shutdown = configParamters[18];
	alarmInterval = configParamters[19];
	alarmIntervalMinOn = configParamters[20];
	alarmIntervalMinOff = configParamters[21];
	powerOnButton_enable = configParamters[22];
	powerOnButton_time = configParamters[23];
	powersave_enable = configParamters[24];
	poweroff_enable = configParamters[25];
	wakeup_time_enable = configParamters[26];
	wakeup_time = configParamters[27];
	wakeupweekend_enable = configParamters[28];
	wakeup_time_counter = wakeup_time;

	flashConfig();
	wakeup_time_counter = wakeup_time;
	alarmIntervalMinOn_Counter = alarmIntervalMinOn;
	alarmIntervalMinOff_Counter = alarmIntervalMinOff;
}

void flashValue(uint32_t address, uint32_t data) {
	if (HAL_FLASH_Program(FLASH_TYPEPROGRAM_WORD, address, data) != HAL_OK) {
		/*
		 Error occurred while page erase.
		 User can add here some code to deal with this error.
		 PAGEError will contain the faulty page and then to know the code error on this page,
		 user can call function 'HAL_FLASH_GetError()'
		 */
		/* Infinite loop */
		while (1) {
			_Error_Handler(__FILE__, __LINE__);
		}
	}
}

/*********************************************************************************/

/*********************************************************************************/

/*** Alarm_Handler
 *
 * This function is the main part of the time based sheduling system of the StromPi3
 * It is called every minute in the main Task and is checking if one
 * of the preprogrammed events is triggered - in this case the StromPi3 restarts the
 * RPi through switch the poweroff_flag to 0.
 * As for this the StromPi3 have to be in hi "shutdown-state" (poweroff_flag=1), which can be
 * achieved through the preprogrammed alarmPoweroff
 * or through a manual shutdown through the serial console.
 *  *
 * An event can be
 *
 * - alarmTime: the event triggers every time the preprogrammed clock time have been reached
 * - alarmWeekDay: the event triggers every time the preprogrammed weekday have been reached (for example every monday)
 * - alarmDate: the event triggers every time the preprogrammed date have been reached (for example every first march of the year)
 *
 *
 * 																			  ***/

void Alarm_Handler(void) {
	RTC_TimeTypeDef stimestructureget;
	RTC_DateTypeDef sdatestructureget;

	HAL_RTC_GetTime(&hrtc, &stimestructureget, RTC_FORMAT_BIN);
	HAL_RTC_GetDate(&hrtc, &sdatestructureget, RTC_FORMAT_BIN);

	/*** This part handles the preprogrammed shutdown function  ***/

	if (alarmPoweroff == 1) {
		if (((alarmTime == 1 || wakeup_time_enable == 1)
				&& wakeupweekend_enable == 0 && sdatestructureget.WeekDay >= 1
				&& sdatestructureget.WeekDay <= 5)
				|| ((alarmTime == 1 || wakeup_time_enable == 1)
						&& wakeupweekend_enable == 1)
				|| (alarmWeekDay == 1
						&& alarm_weekday == sdatestructureget.WeekDay)
				|| (alarmDate == 1 && alarm_day == sdatestructureget.Date
						&& alarm_month == sdatestructureget.Month)) {
			if (alarm_min_off == stimestructureget.Minutes
					&& alarm_hour_off == stimestructureget.Hours) {
				poweroff_flag = 1;
				ShutdownRPi();
				Config_Reset_Pin_Input_PullDOWN();
				alarm_shutdown_time_counter = shutdown_time;
				alarmPoweroff_flag = 1;

			}
		}
	}

	if (((wakeup_time_counter != 0 && wakeup_time_enable == 1
			&& poweroff_flag == 1)
			&& (manual_poweroff_flag == 1 || alarmPoweroff_flag == 1))
			&& (wakeupweekend_enable == 1
					|| (sdatestructureget.WeekDay >= 1
							&& sdatestructureget.WeekDay <= 5))) {
		wakeup_time_counter--;
	}
	if (((wakeup_time_counter == 0 && wakeup_time_enable == 1
			&& poweroff_flag == 1)
			&& (manual_poweroff_flag == 1 || alarmPoweroff_flag == 1))
			&& (wakeupweekend_enable == 1
					|| (sdatestructureget.WeekDay >= 1
							&& sdatestructureget.WeekDay <= 5))) {
		poweroff_flag = 0;
		wakeup_time_counter = wakeup_time;
		manual_poweroff_flag = 0;
		alarmPoweroff_flag = 0;
	}
	if (alarm_enable == 1) {
		if ((alarmTime == 1 && wakeupweekend_enable == 0)
				&& (sdatestructureget.WeekDay >= 1
						&& sdatestructureget.WeekDay <= 5)) {
			if (alarm_min == stimestructureget.Minutes
					&& alarm_hour == stimestructureget.Hours) {
				if (modus == 1 || modus == 3) {
					if (rawValue[2] > minUSB) {
						poweroff_flag = 0;
						alarmPoweroff_flag = 0;
						Power_USB();
					} else if (modus == 1) {
						poweroff_flag = 0;
						alarmPoweroff_flag = 0;
						Power_Wide();
					} else if (modus == 3) {
						poweroff_flag = 0;
						alarmPoweroff_flag = 0;
						Power_Bat();
						powerBat_flag = 1;
					}
				}

				else if (modus == 2 || modus == 4) {
					if (rawValue[0] > minWide) {
						poweroff_flag = 0;
						alarmPoweroff_flag = 0;
						Power_Wide();
					} else if (modus == 2) {
						poweroff_flag = 0;
						alarmPoweroff_flag = 0;
						Power_USB();
					} else if (modus == 4) {
						poweroff_flag = 0;
						alarmPoweroff_flag = 0;
						Power_Bat();
						powerBat_flag = 1;
					}
				}
			}
		}
		if (alarmTime == 1 && wakeupweekend_enable == 1) {
			if (alarm_min == stimestructureget.Minutes
					&& alarm_hour == stimestructureget.Hours) {
				if (modus == 1 || modus == 3) {
					if (rawValue[2] > minUSB) {
						poweroff_flag = 0;
						alarmPoweroff_flag = 0;
						Power_USB();
					} else if (modus == 1) {
						poweroff_flag = 0;
						alarmPoweroff_flag = 0;
						Power_Wide();
					} else if (modus == 3) {
						poweroff_flag = 0;
						alarmPoweroff_flag = 0;
						Power_Bat();
						powerBat_flag = 1;
					}
				}

				else if (modus == 2 || modus == 4) {
					if (rawValue[0] > minWide) {
						poweroff_flag = 0;
						alarmPoweroff_flag = 0;
						Power_Wide();
					} else if (modus == 2) {
						poweroff_flag = 0;
						alarmPoweroff_flag = 0;
						Power_USB();
					} else if (modus == 4) {
						poweroff_flag = 0;
						alarmPoweroff_flag = 0;
						Power_Bat();
						powerBat_flag = 1;
					}
				}
			}
		} else if (alarmWeekDay == 1) {
			if (alarm_min == stimestructureget.Minutes
					&& alarm_hour == stimestructureget.Hours
					&& alarm_weekday == sdatestructureget.WeekDay) {
				if (modus == 1 || modus == 3) {
					if (rawValue[2] > minUSB) {
						poweroff_flag = 0;
						alarmPoweroff_flag = 0;
						Power_USB();
					} else if (modus == 1) {
						poweroff_flag = 0;
						alarmPoweroff_flag = 0;
						Power_Wide();
					} else if (modus == 3) {
						poweroff_flag = 0;
						alarmPoweroff_flag = 0;
						Power_Bat();
						powerBat_flag = 1;
					}
				}

				else if (modus == 2 || modus == 4) {
					if (rawValue[0] > minWide) {
						poweroff_flag = 0;
						alarmPoweroff_flag = 0;
						Power_Wide();
					} else if (modus == 2) {
						poweroff_flag = 0;
						alarmPoweroff_flag = 0;
						Power_USB();
					} else if (modus == 4) {
						poweroff_flag = 0;
						alarmPoweroff_flag = 0;
						Power_Bat();
						powerBat_flag = 1;
					}
				}
			}
		}

		else if (alarmDate == 1) {
			if (alarm_min == stimestructureget.Minutes
					&& alarm_hour == stimestructureget.Hours
					&& alarm_day == sdatestructureget.Date
					&& alarm_month == sdatestructureget.Month) {
				if (modus == 1 || modus == 3) {
					if (rawValue[2] > minUSB) {
						poweroff_flag = 0;
						alarmPoweroff_flag = 0;
						Power_USB();
					} else if (modus == 1) {
						poweroff_flag = 0;
						alarmPoweroff_flag = 0;
						Power_Wide();
					} else if (modus == 3) {
						poweroff_flag = 0;
						alarmPoweroff_flag = 0;
						Power_Bat();
						powerBat_flag = 1;
					}
				}

				else if (modus == 2 || modus == 4) {
					if (rawValue[0] > minWide) {
						poweroff_flag = 0;
						alarmPoweroff_flag = 0;
						Power_Wide();
					} else if (modus == 2) {
						poweroff_flag = 0;
						alarmPoweroff_flag = 0;
						Power_USB();
					} else if (modus == 4) {
						poweroff_flag = 0;
						alarmPoweroff_flag = 0;
						Power_Bat();
						powerBat_flag = 1;
					}
				}
			}
		}
	}

	if (alarmInterval == 1) {
		if (alarmIntervalMinOn_Counter == 0 && poweroff_flag == 1) {

			if (alarmIntervalMinOff_Counter > 0) {

				alarmIntervalMinOff_Counter--;
			}

			if (alarmIntervalMinOff_Counter == 0) {
				poweroff_flag = 0;
				interval_off_flag = 0;
				alarmPoweroff_flag = 0;
				alarmIntervalMinOn_Counter = alarmIntervalMinOn + 1;
			}

		}

		if (alarmIntervalMinOn_Counter > 0) {

			alarmIntervalMinOn_Counter--;
		}

		if (alarmIntervalMinOn_Counter == 0) {
			poweroff_flag = 1;
			interval_off_flag = 1;
			ShutdownRPi();
			alarm_shutdown_time_counter = shutdown_time;
			if (alarmIntervalMinOff_Counter == 0) {
				alarmIntervalMinOff_Counter = alarmIntervalMinOff;
			}
		}

	}

}

/*********************************************************************************/

/*** Only for manufacturing | Checks if the Flash Area of the STM32F031 is blank, so it preprogrmm it with a default configuration ***/

void initialCheck(void) {
	if (wakeupweekend_enable == 0xFF) {
		modus = 1;
		alarmDate = 0;
		alarmWeekDay = 0;
		alarmTime = 1;
		alarmPoweroff = 0;
		alarm_min = 0;
		alarm_hour = 0;
		alarm_min_off = 0;
		alarm_hour_off = 0;
		alarm_day = 1;
		alarm_month = 1;
		alarm_weekday = 1;
		alarm_enable = 0;
		shutdown_enable = 0;
		shutdown_time = 10;
		warning_enable = 1;
		serialLessMode = 0;
		batLevel_shutdown = 0;
		alarmInterval = 0;
		alarmIntervalMinOn = 0;
		alarmIntervalMinOff = 0;
		powerOnButton_enable = 0;
		powerOnButton_time = 30;
		powersave_enable = 0;
		poweroff_enable = 0;
		wakeup_time_enable = 0;
		wakeup_time = 30;
		wakeupweekend_enable = 1;

		flashConfig();
	}
}

/*********************************************************************************/

/*** Main Task
 *
 * The next section describes the main Task.
 * In the first part (before the main loop) the initial starting condition is prepared
 * and the UART serial console task is initiated.
 *
 * The main loop then is triggered every second by the FreeRTOS Taskscheduler
 * As this give a synchroned timesource, the main task is counting the seconds and after reaching
 * a full minute, its starts the Alarm_Handler()
 *
 * The next part is for the processing of the warning messages, as it would be to critical to
 * resolve them in the ADC Watchdog Interrupt, and for turning the primary PowerPath back on
 * after the ADC have detected that it came back to life.
 *
 * The last part os for reading out the ADC and storing the values into variables for processing.

 /* USER CODE END 4 */

/* StartDefaultTask function */
void StartDefaultTask(void const *argument) {

	/* USER CODE BEGIN 5 */
	uint16_t VDDValue;
	uint8_t sek = 0;

	interval_off_flag = 0;

	/*** Initialization ***/

	if (initstart == 0) {
		osDelay(500);
		MX_ADC_Init();

		if ((modus == 1 || modus == 3)
				&& (poweroff_enable != 1 || poweroff_flag != 1)) {
			poweroff_flag = 0;
			Power_USB();
			configureAWD_USB();
		} else if ((modus == 2 || modus == 4)
				&& (poweroff_enable != 1 || poweroff_flag != 1)) {
			poweroff_flag = 0;
			Power_Wide();
			configureAWD_Wide();
		}

		HAL_ADCEx_Calibration_Start(&hadc);

		if (HAL_ADC_Start_DMA(&hadc, (uint32_t*) rawValue, 5) != HAL_OK) {
			return 0;
		}

		MX_USART1_UART_Init();

		osDelay(1000);

		serialLess_communication_on_flag = 0;

		serialLess_timer = 10;

		/*** Serial Console Task Initialization ***/
		vUARTCommandConsoleStart();
	}

	for (;;) {

		/*** Counts for a full minute and calls then the Alarm_Handler() ***/

		if (sek == 60) {
			Alarm_Handler();
			sek = 0;
		}
		sek++;

		if (serialLess_communication_off_counter == 5) {
			osDelay(1000);

			GPIOA->MODER &= ~(1 << 19);
			GPIOA->MODER &= ~(1 << 21);

			serialLess_communication_off_counter--;
		}

		if (serialLessMode == 1 && serialLess_communication_on_flag != 1
				&& serialLess_communication_off_counter > 0) {
			Config_Reset_Pin_Input_PullUP();
			if (HAL_GPIO_ReadPin(RESET_Rasp_GPIO_Port, RESET_Rasp_Pin) == 0) {
				serialLess_communication_off_counter--;
			}

			if (serialLess_communication_off_counter == 1) {
				GPIOA->MODER |= (1 << 19);
				GPIOA->MODER |= (1 << 21);

				serialLess_communication_off_counter--;
			}
		}

		if (modus == 5) {
			threeStageMode = 1;
			modus = 1;
		} else if (modus == 6) {
			threeStageMode = 2;
			modus = 2;
		}

		if (threeStageMode > 0) {
			if (threeStageMode == 1) {
				if (output_status == 1) {
					if (rawValue[0] > minWide) {
						modus = 1;
					} else {
						modus = 3;
					}

					if (watchdog_update == 0) {
						reconfigureWatchdog();
						watchdog_update = 1;
					}
				}

				else if (output_status == 0 || output_status == 2
						|| output_status == 3) {
					if (rawValue[2] > minUSB) {
						modus = 1;
						watchdog_update = 0;
					} else {
						if (modus != 4) {
							modus = 4;
							watchdog_update = 0;
						}
					}

					if (watchdog_update == 0) {
						reconfigureWatchdog();
						watchdog_update = 1;
					}
				}
			}

			if (threeStageMode == 2) {
				if (output_status == 2) {
					if (rawValue[2] > minUSB) {
						modus = 2;
						watchdog_update = 0;
					}

					else {
						modus = 4;
					}

					if (watchdog_update == 0) {
						reconfigureWatchdog();
						watchdog_update = 1;
					}
				}

				else if (output_status == 0 || output_status == 1
						|| output_status == 3) {
					if (rawValue[0] > minWide) {
						modus = 2;
						watchdog_update = 0;
					} else {
						if (modus != 3) {
							modus = 3;
							watchdog_update = 0;
						}
					}

					if (watchdog_update == 0) {
						reconfigureWatchdog();
						watchdog_update = 1;
					}
				}
			}
		}

		if (poweroff_flag == 1
				&& power_on_button_counter <= powerOnButton_time) {
			power_on_button_counter++;
		}

		if (poweroff_flag == 1) {
			if (power_on_button_counter > powerOnButton_time) {
				Config_Reset_Pin_Input_PullDOWN();

				if (HAL_GPIO_ReadPin(RESET_Rasp_GPIO_Port, RESET_Rasp_Pin) == 1
						&& powerOnButton_enable == 1) {
					power_on_button_counter = 0;

					if (modus == 1 || modus == 3) {
						if (rawValue[2] > minUSB) {
							manual_poweroff_flag = 0;
							poweroff_flag = 0;
							alarmPoweroff_flag = 0;
							Power_USB();
						} else if (modus == 1) {
							manual_poweroff_flag = 0;
							poweroff_flag = 0;
							alarmPoweroff_flag = 0;
							Power_Wide();
						} else if (modus == 3) {
							manual_poweroff_flag = 0;
							poweroff_flag = 0;
							alarmPoweroff_flag = 0;
							Power_Bat();
							powerBat_flag = 1;
						}
					}

					else if (modus == 2 || modus == 4) {
						if (rawValue[0] > minWide) {
							manual_poweroff_flag = 0;
							poweroff_flag = 0;
							alarmPoweroff_flag = 0;
							Power_Wide();
						} else if (modus == 2) {
							manual_poweroff_flag = 0;
							poweroff_flag = 0;
							alarmPoweroff_flag = 0;
							Power_USB();
						} else if (modus == 4) {
							manual_poweroff_flag = 0;
							poweroff_flag = 0;
							alarmPoweroff_flag = 0;
							Power_Bat();
							powerBat_flag = 1;
						}
					}
					Config_Reset_Pin_Output();
					__HAL_ADC_CLEAR_FLAG(&hadc, ADC_FLAG_AWD);
					__HAL_ADC_ENABLE_IT(&hadc, ADC_IT_AWD);
				}
			}
		}

		/*** If one of the Events have triggered the shutdown-timer,
		 * then it here cuts off the Power to the Raspberry Pi  ***/
		if (shutdown_time_counter > 0) {
			shutdown_time_counter--;

			if (shutdown_time_counter == 0) {
				poweroff_flag = 1;
				Power_Off();
				batLevel_shutdown_flag = 0;
			}
		}

		/*** If the PowerOff-Alarm has been triggered, then here
		 * the shutdown-process is shutting down the Powerpath
		 * connected to the Raspberry Pi  ***/

		if (alarm_shutdown_time_counter > 0) {
			alarm_shutdown_time_counter--;

			if (alarm_shutdown_time_counter == 0) {
				poweroff_flag = 1;
				Power_Off();
			}
		}

		/*** Processing of the shutdown_flag
		 * The Counter for the shutdown-timer is set
		 * and the warning message for the Raspberry Pi Shutdown
		 * is sent out through the serial interface  ***/

		if (shutdown_enable == 1 && shutdown_flag == 1
				|| alarm_shutdown_enable == 1) {
			shutdown_time_counter = shutdown_time;
			ShutdownRPi();
			shutdown_flag = 0;
			alarm_shutdown_enable = 0;

			powerback_flag = 1;
		}

		/*** Processing of the warning_flag
		 * If the shutdown-timer is deactivated, but the
		 * warning feature is enabled, then here the powerfail-warning
		 * is generated
		 */

		if (warning_enable == 1 && warning_flag == 1 && shutdown_enable != 1) {
			PowerfailWarning();
			warning_flag = 0;
			powerback_flag = 1;
		}

		/*** Turns the Raspberry Pi PowerPath back on if the primary Voltage source has came back to life
		 * Also the ADC-Watchdog-Interrupt is turned back on, so it can trigger once again.
		 * The transition of the primary voltage source to the backup source, is monitored and will be
		 * switched in the most critical manner (as soon as possible: directly in the ADC-Watchdog Interrupt),
		 * but the transition from the backup source to the primary voltage is triggered here in the main Task
		 * in its "1-second" period of time.
		 */

		if ((modus == 1 || modus == 3) && output_status != 1
				&& alarmPoweroff_flag != 1) {
			if ((rawValue[2] > minUSB && poweroff_enable != 1
					&& manual_poweroff_flag != 1 && interval_off_flag != 1)
					|| (rawValue[2] > minUSB && manual_poweroff_flag != 1
							&& poweroff_flag != 1 && interval_off_flag != 1)) {
				poweroff_flag = 0;

				Power_USB();
				__HAL_ADC_CLEAR_FLAG(&hadc, ADC_FLAG_AWD);
				__HAL_ADC_ENABLE_IT(&hadc, ADC_IT_AWD);
				if (serialLessMode) {
					HAL_GPIO_WritePin(RESET_Rasp_GPIO_Port, RESET_Rasp_Pin,
							GPIO_PIN_SET);
					serialLess_communication_on_flag = 0;
				}

				shutdown_time_counter = 0;

				powerBat_flag = 0;

				if (powerback_flag == 1) {
					PowerBack();
					powerback_flag = 0;
				}
			}
		}

		if ((modus == 2 || modus == 4) && output_status != 2
				&& alarmPoweroff_flag != 1) {
			if ((rawValue[0] > minWide && manual_poweroff_flag != 1
					&& poweroff_enable != 1 && interval_off_flag != 1)
					|| (rawValue[0] > minWide && manual_poweroff_flag != 1
							&& poweroff_flag != 1 && interval_off_flag != 1)) {
				poweroff_flag = 0;
				Power_Wide();
				__HAL_ADC_CLEAR_FLAG(&hadc, ADC_FLAG_AWD);
				__HAL_ADC_ENABLE_IT(&hadc, ADC_IT_AWD);

				if (serialLessMode) {
					HAL_GPIO_WritePin(RESET_Rasp_GPIO_Port, RESET_Rasp_Pin,
							GPIO_PIN_SET);
					serialLess_communication_on_flag = 0;
				}

				shutdown_time_counter = 0;

				powerBat_flag = 0;

				if (powerback_flag == 1) {
					PowerBack();
					powerback_flag = 0;
				}
			}
		}

		if (powerBat_flag == 1 && interval_off_flag == 0
				&& poweroff_flag == 0) {
			Power_Bat();
		}

		/*** Reads out the current ADC-Values and stores them into the linked variables ***/
		HAL_ADCEx_Calibration_Start(&hadc);
		VDDValue = 3300 * (*((unsigned short*) 0x1FFFF7BA)) / rawValue[4];
		measuredValue[0] = VDDValue * rawValue[0] / 4095 * 105100 / 5100;
		measuredValue[1] = VDDValue * rawValue[1] / 4095 * 15100 / 5100;
		measuredValue[2] = VDDValue * rawValue[2] / 4095 * 15100 / 5100;
		measuredValue[3] = VDDValue * rawValue[3] / 4095 * 15100 / 5100;

		/***
		 * In this part the measured Battery Voltage is mapped on 4 Voltage-Levels
		 * (1:10%, 2:25%, 3:50%, 4:100%) for printing out in the adc-output command
		 * or for processing of the Batterylevel-Shutdown Function.
		 *
		 * If the Powerpath mUSB or Wide has been selected, the variable charging is changed to 1
		 * and is indicating that the battery-charging circuit is turned in.
		 * In this case the Battery-Voltage is increased through the nature of the circuit
		 * so in this case a Offset is calculated into the Battery-Level ***/

		if (charging == 0) {
			if (measuredValue[1] > 3220)
				batLevel = 4;
			else if (measuredValue[1] <= 3220 && measuredValue[1] > 3100)
				batLevel = 3;
			else if (measuredValue[1] <= 3100 && measuredValue[1] > 2800)
				batLevel = 2;
			else if (measuredValue[1] <= 2800 && measuredValue[1] > 2500)
				batLevel = 1;
			else
				batLevel = 0;
		} else {
			if (measuredValue[1] > (3220 + chargingOffset))
				batLevel = 4;
			else if (measuredValue[1] <= (3220 + chargingOffset)
					&& measuredValue[1] > (3100 + chargingOffset))
				batLevel = 3;
			else if (measuredValue[1] <= (3100 + chargingOffset)
					&& measuredValue[1] > (2800 + chargingOffset))
				batLevel = 2;
			else if (measuredValue[1] <= (2800 + chargingOffset)
					&& measuredValue[1] > (2500 + chargingOffset))
				batLevel = 1;
			else
				batLevel = 0;
		}

		/*** Processing of the Batterylevel-Shutdown Function.
		 * After a check if the Battery is currently charging, the next part checks if the Battery is currently attached
		 * and if the Batterylevel is under the configured Shutdown-Level ***/

		if (batLevel_shutdown > 0 && charging != 1) {
			if (batLevel <= batLevel_shutdown && rawValue[1] > minBatConnect
					&& batLevel_shutdown_flag == 0) {
				ShutdownRPi();
				shutdown_time_counter = 10;
				batLevel_shutdown_flag = 1;
			}

		}
		powerfailure_counter_block = 0;
		osDelay(1000);
	}
	/* USER CODE END 5 */
}

void HAL_TIM_PeriodElapsedCallback(TIM_HandleTypeDef *htim) {
	if (htim->Instance == TIM14) {
		HAL_IncTick();
	}
}

void _Error_Handler(char *file, int line) {
	while (1) {
	}
}

/************************ (C) COPYRIGHT STMicroelectronics *****END OF FILE****/

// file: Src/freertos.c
/**
  ******************************************************************************
  * File Name          : freertos.c
  * Description        : Code for freertos applications
  ******************************************************************************
  * This notice applies to any and all portions of this file
  * that are not between comment pairs USER CODE BEGIN and
  * USER CODE END. Other portions of this file, whether
  * inserted by the user or by software development tools
  * are owned by their respective copyright owners.
  *
  * Copyright (c) 2018 STMicroelectronics International N.V.
  * All rights reserved.
  *
  * Redistribution and use in source and binary forms, with or without
  * modification, are permitted, provided that the following conditions are met:
  *
  * 1. Redistribution of source code must retain the above copyright notice,
  *    this list of conditions and the following disclaimer.
  * 2. Redistributions in binary form must reproduce the above copyright notice,
  *    this list of conditions and the following disclaimer in the documentation
  *    and/or other materials provided with the distribution.
  * 3. Neither the name of STMicroelectronics nor the names of other
  *    contributors to this software may be used to endorse or promote products
  *    derived from this software without specific written permission.
  * 4. This software, including modifications and/or derivative works of this
  *    software, must execute solely and exclusively on microcontroller or
  *    microprocessor devices manufactured by or for STMicroelectronics.
  * 5. Redistribution and use of this software other than as permitted under
  *    this license is void and will automatically terminate your rights under
  *    this license.
  *
  * THIS SOFTWARE IS PROVIDED BY STMICROELECTRONICS AND CONTRIBUTORS "AS IS"
  * AND ANY EXPRESS, IMPLIED OR STATUTORY WARRANTIES, INCLUDING, BUT NOT
  * LIMITED TO, THE IMPLIED WARRANTIES OF MERCHANTABILITY, FITNESS FOR A
  * PARTICULAR PURPOSE AND NON-INFRINGEMENT OF THIRD PARTY INTELLECTUAL PROPERTY
  * RIGHTS ARE DISCLAIMED TO THE FULLEST EXTENT PERMITTED BY LAW. IN NO EVENT
  * SHALL STMICROELECTRONICS OR CONTRIBUTORS BE LIABLE FOR ANY DIRECT, INDIRECT,
  * INCIDENTAL, SPECIAL, EXEMPLARY, OR CONSEQUENTIAL DAMAGES (INCLUDING, BUT NOT
  * LIMITED TO, PROCUREMENT OF SUBSTITUTE GOODS OR SERVICES; LOSS OF USE, DATA,
  * OR PROFITS; OR BUSINESS INTERRUPTION) HOWEVER CAUSED AND ON ANY THEORY OF
  * LIABILITY, WHETHER IN CONTRACT, STRICT LIABILITY, OR TORT (INCLUDING
  * NEGLIGENCE OR OTHERWISE) ARISING IN ANY WAY OUT OF THE USE OF THIS SOFTWARE,
  * EVEN IF ADVISED OF THE POSSIBILITY OF SUCH DAMAGE.
  *
  ******************************************************************************
  */

#include "FreeRTOS.h"
#include "task.h"

/* Hook prototypes */
void vApplicationStackOverflowHook(xTaskHandle xTask, signed char *pcTaskName);

/* USER CODE BEGIN 4 */
__weak void vApplicationStackOverflowHook(xTaskHandle xTask, signed char *pcTaskName)
{
   /* Run time stack overflow checking is performed if
   configCHECK_FOR_STACK_OVERFLOW is defined to 1 or 2. This hook function is
   called if a stack overflow is detected. */
}
/* USER CODE END 4 */

/************************ (C) COPYRIGHT STMicroelectronics *****END OF FILE****/
